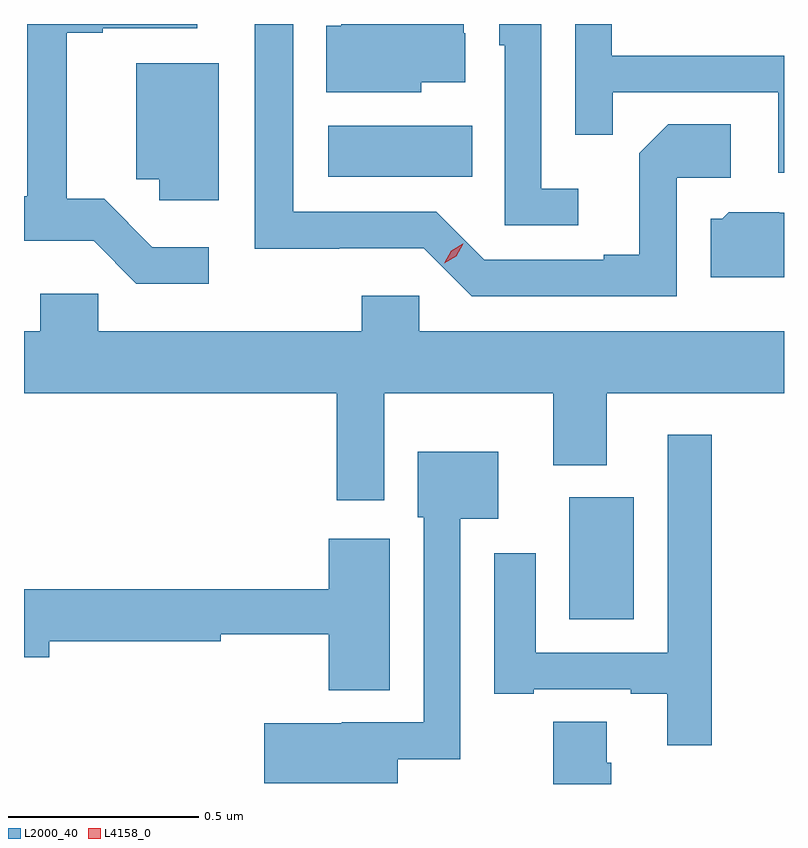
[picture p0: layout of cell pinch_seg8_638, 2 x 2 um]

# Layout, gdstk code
import gdstk
lib = gdstk.Library(unit=1e-6, precision=1e-09)
def R(c, l, rs):  # rectangles x0, y0, x1, y1
    for r in rs: c.add(gdstk.rectangle(r[:2], r[2:], *l))
def P(c, l, *ps):  # polygons
    for p in ps: c.add(gdstk.Polygon(p, *l))
L2000_40 = (2000, 40)
L4158_0 = (4158, 0)

pinch_seg8_638 = lib.new_cell('pinch_seg8_638')
R(pinch_seg8_638, L2000_40, [(204.389,1082.606,204.559,1082.926), (203.754,1083.77,204.134,1083.904)])
P(pinch_seg8_638, L2000_40, [(203.44,1083.585),(203.292,1083.585),(203.165,1083.712),(203.066,1083.712),(203.066,1084.149),(203.161,1084.149),(203.161,1084.161),(203.41,1084.161),(203.41,1084.172),(202.963,1084.172),(202.963,1083.719),(202.954,1083.719),(202.954,1083.602),(203.137,1083.602),(203.25,1083.489),(203.44,1083.489)],
  [(204.672,1083.768),(204.814,1083.768),(204.814,1083.908),(204.649,1083.908),(204.573,1083.832),(204.573,1083.565),(204.479,1083.565),(204.479,1083.552),(204.165,1083.552),(204.039,1083.678),(203.662,1083.678),(203.662,1084.172),(203.561,1084.172),(203.561,1083.581),(203.784,1083.581),(203.784,1083.582),(204.006,1083.582),(204.132,1083.456),(204.672,1083.456)],
  [(204.412,1083.739),(204.315,1083.739),(204.315,1084.172),(204.204,1084.172),(204.204,1084.116),(204.219,1084.116),(204.219,1083.642),(204.412,1083.642)],
  [(204,1084.019),(204.115,1084.019),(204.115,1084.148),(204.111,1084.148),(204.111,1084.172),(203.789,1084.172),(203.789,1084.168),(203.75,1084.168),(203.75,1083.992),(204,1083.992)],
  [(204.954,1084.089),(204.501,1084.089),(204.501,1084.172),(204.405,1084.172),(204.405,1083.88),(204.503,1083.88),(204.503,1083.993),(204.939,1083.993),(204.939,1083.78),(204.954,1083.78)],
  [(203.467,1084.069),(203.249,1084.069),(203.249,1083.764),(203.31,1083.764),(203.31,1083.708),(203.467,1083.708)],
  [(204.954,1083.675),(204.942,1083.675),(204.942,1083.676),(204.808,1083.676),(204.792,1083.66),(204.761,1083.66),(204.761,1083.506),(204.954,1083.506)],
  [(203.902,1083.2),(204.347,1083.2),(204.347,1083.011),(204.487,1083.011),(204.487,1083.2),(204.954,1083.2),(204.954,1083.364),(203.994,1083.364),(203.994,1083.457),(203.843,1083.457),(203.843,1083.364),(203.149,1083.364),(203.149,1083.462),(202.997,1083.462),(202.997,1083.364),(202.954,1083.364),(202.954,1083.2),(203.777,1083.2),(203.777,1082.919),(203.902,1082.919)],
  [(204.764,1083.091),(204.648,1083.091),(204.648,1082.517),(204.301,1082.517),(204.301,1082.779),(204.191,1082.779),(204.191,1082.409),(204.295,1082.409),(204.295,1082.421),(204.551,1082.421),(204.551,1082.409),(204.647,1082.409),(204.647,1082.274),(204.764,1082.274)],
  [(203.938,1082.237),(204.102,1082.237),(204.102,1082.87),(204.202,1082.87),(204.202,1083.046),(203.99,1083.046),(203.99,1082.874),(204.006,1082.874),(204.006,1082.334),(203.79,1082.334),(203.79,1082.332),(203.586,1082.332),(203.586,1082.174),(203.938,1082.174)],
  [(203.917,1082.818),(203.756,1082.818),(203.756,1082.684),(202.954,1082.684),(202.954,1082.506),(203.02,1082.506),(203.02,1082.548),(203.472,1082.548),(203.472,1082.566),(203.756,1082.566),(203.756,1082.419),(203.917,1082.419)],
  [(204.5,1082.228),(204.487,1082.228),(204.487,1082.336),(204.347,1082.336),(204.347,1082.172),(204.5,1082.172)])
P(pinch_seg8_638, L4158_0, [(204.06,1083.542),(204.06,1083.542),(204.078,1083.575),(204.109,1083.594),(204.11,1083.594),(204.11,1083.594),(204.092,1083.561),(204.06,1083.542)])

lib.write_gds('pinch_seg8_638.gds')
